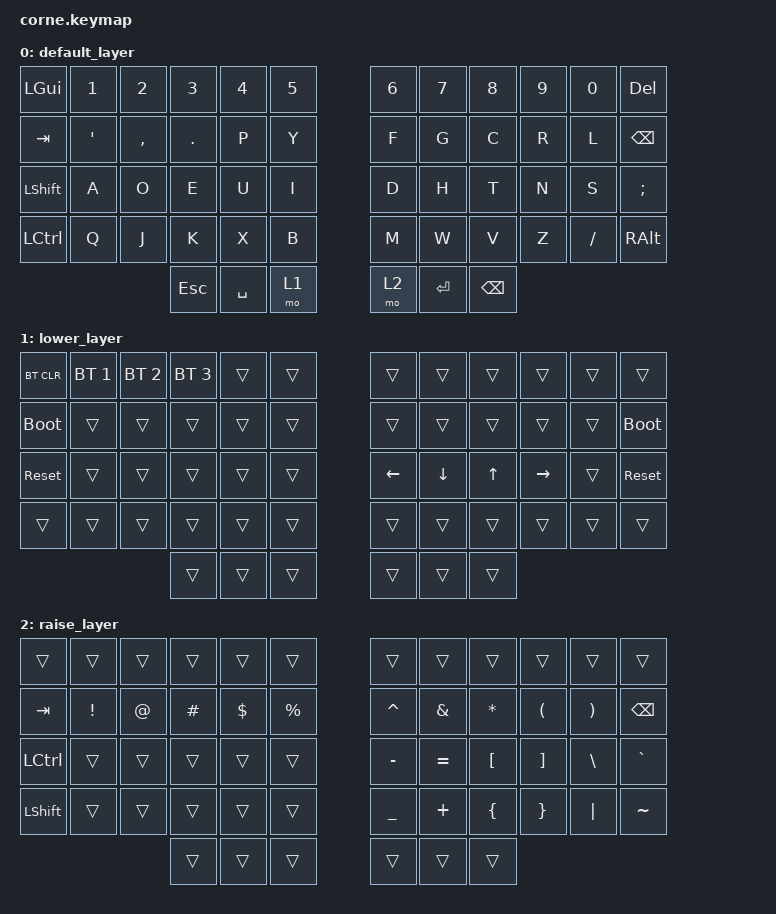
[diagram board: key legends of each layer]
#include <behaviors.dtsi>
#include <dt-bindings/zmk/keys.h>
#include <dt-bindings/zmk/bt.h>
#include <dt-bindings/zmk/ext_power.h>

/ {
    keymap {
        compatible = "zmk,keymap";

        default_layer {
            /* 
             * Default Layer
             * 
             * ┌────┬────┬────┬────┬────┬────┐      ┌────┬────┬────┬────┬────┬────┐
             * │LGUI│ 1  │ 2  │ 3  │ 4  │ 5  │      │ 6  │ 7  │ 8  │ 9  │ 0  │DEL │
             * ├────┼────┼────┼────┼────┼────┤      ├────┼────┼────┼────┼────┼────┤
             * │TAB │ '  │ ,  │ .  │ P  │ Y  │      │ F  │ G  │ C  │ R  │ L  │BSPC│
             * ├────┼────┼────┼────┼────┼────┤      ├────┼────┼────┼────┼────┼────┤
             * │LSFT│ A  │ O  │ E  │ U  │ I  │      │ D  │ H  │ T  │ N  │ S  │ ;  │
             * ├────┼────┼────┼────┼────┼────┤      ├────┼────┼────┼────┼────┼────┤
             * │LCTL│ Q  │ J  │ K  │ X  │ B  │      │ M  │ W  │ V  │ Z  │ /  │RALT│
             * └────┴────┴────┴────┴────┴────┘      └────┴────┴────┴────┴────┴────┘
             *                ┌────┬────┬────┐      ┌────┬────┬────┐
             *                │ESC │SPC │MO1 │      │MO2 │RET │BSPC│
             *                └────┴────┴────┘      └────┴────┴────┘
             */
            bindings = <
                &kp LGUI     &kp N1      &kp N2     &kp N3     &kp N4     &kp N5        &kp N6     &kp N7     &kp N8     &kp N9     &kp N0     &kp DEL
                &kp TAB      &kp SQT     &kp COMMA  &kp DOT    &kp P      &kp Y         &kp F      &kp G      &kp C      &kp R      &kp L      &kp BSPC
                &kp LSHIFT   &kp A       &kp O      &kp E      &kp U      &kp I         &kp D      &kp H      &kp T      &kp N      &kp S      &kp SEMI
                &kp LCTRL    &kp Q       &kp J      &kp K      &kp X      &kp B         &kp M      &kp W      &kp V      &kp Z      &kp FSLH   &kp RALT
                                    &kp ESC     &kp SPACE  &mo 1       &mo 2         &kp RET    &kp BSPC
            >;
        };

        lower_layer {
            /* 
             * Lower Layer
             * 
             * ┌────┬────┬────┬────┬────┬────┐      ┌────┬────┬────┬────┬────┬────┐
             * │CLR │BT1 │BT2 │BT3 │    │    │      │    │    │    │    │    │    │
             * ├────┼────┼────┼────┼────┼────┤      ├────┼────┼────┼────┼────┼────┤
             * │BOOT│    │    │    │    │    │      │    │    │    │    │    │BOOT│
             * ├────┼────┼────┼────┼────┼────┤      ├────┼────┼────┼────┼────┼────┤
             * │ RST│    │    │    │    │    │      │LEFT│DOWN│ UP │RIGH│    │ RST│
             * ├────┼────┼────┼────┼────┼────┤      ├────┼────┼────┼────┼────┼────┤
             * │    │    │    │    │    │    │      │    │    │    │    │    │    │
             * └────┴────┴────┴────┴────┴────┘      └────┴────┴────┴────┴────┴────┘
             *                ┌────┬────┬────┐      ┌────┬────┬────┐
             *                │    │    │    │      │    │    │    │
             *                └────┴────┴────┘      └────┴────┴────┘
             */
            bindings = <
                &bt BT_CLR   &bt BT_SEL 1   &bt BT_SEL 2   &bt BT_SEL 3   &trans     &trans          &trans     &trans     &trans     &trans     &trans     &trans
                &bootloader  &trans        &trans         &trans         &trans     &trans          &trans     &trans     &trans     &trans     &trans     &bootloader
                &sys_reset   &trans        &trans         &trans         &trans     &trans          &kp LEFT   &kp DOWN   &kp UP     &kp RIGHT  &trans     &sys_reset
                &trans       &trans        &trans         &trans         &trans     &trans          &trans     &trans     &trans     &trans     &trans     &trans
                                         &trans        &trans         &trans         &trans     &trans          &trans
            >;
        };

        raise_layer {
            /* 
             * Raise Layer
             * 
             * ┌────┬────┬────┬────┬────┬────┐      ┌────┬────┬────┬────┬────┬────┐
             * │    │    │    │    │    │    │      │    │    │    │    │    │    │
             * ├────┼────┼────┼────┼────┼────┤      ├────┼────┼────┼────┼────┼────┤
             * │TAB │ !  │ @  │ #  │ $  │ %  │      │ ^  │ &  │ *  │ (  │ )  │BSPC│
             * ├────┼────┼────┼────┼────┼────┤      ├────┼────┼────┼────┼────┼────┤
             * │LCTL│    │    │    │    │    │      │ -  │ =  │ [  │ ]  │ \  │ `  │
             * ├────┼────┼────┼────┼────┼────┤      ├────┼────┼────┼────┼────┼────┤
             * │LSFT│    │    │    │    │    │      │ _  │ +  │ {  │ }  │ |  │ ~  │
             * └────┴────┴────┴────┴────┴────┘      └────┴────┴────┴────┴────┴────┘
             *                ┌────┬────┬────┐      ┌────┬────┬────┐
             *                │    │    │    │      │    │    │    │
             *                └────┴────┴────┘      └────┴────┴────┘
             */
            bindings = <
                &trans      &trans        &trans       &trans        &trans        &trans           &trans     &trans     &trans     &trans     &trans     &trans
                &kp TAB     &kp EXCL      &kp AT       &kp HASH      &kp DLLR      &kp PRCNT        &kp CARET  &kp AMPS   &kp ASTRK  &kp LPAR   &kp RPAR   &kp BSPC
                &kp LCTRL   &trans        &trans       &trans        &trans        &trans           &kp MINUS  &kp EQUAL  &kp LBKT   &kp RBKT   &kp BSLH   &kp GRAVE
                &kp LSHFT   &trans        &trans       &trans        &trans        &trans           &kp UNDER  &kp PLUS   &kp LBRC   &kp RBRC   &kp PIPE   &kp TILDE
                                         &trans      &trans         &trans         &trans          &trans      &trans
            >;
        };
    };
};
